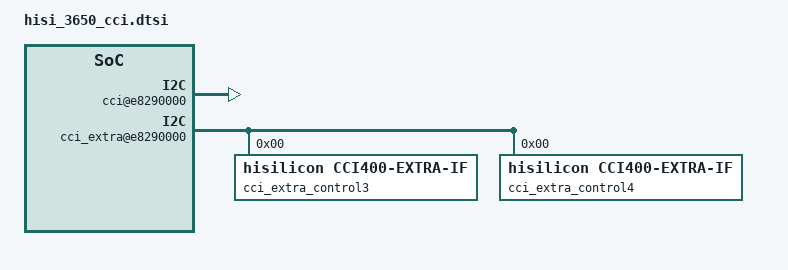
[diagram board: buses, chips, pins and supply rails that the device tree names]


/{
	cci@e8290000 {
		compatible = "arm,cci-400";
		#address-cells = <2>;
		#size-cells = <2>;
		reg = <0x0 0xe8290000 0x0 0x9000>;
	};

	cci_extra@e8290000 {
		compatible = "hisilicon,cci400-extra";
		#address-cells = <2>;
		#size-cells = <2>;
		reg = <0x0 0xe8290000 0x0 0x9000>;
		ranges = <0x0 0x4000 0x0 0xe8294000 0x0 0x1000>,
			<0x0 0x5000 0x0 0xe8295000 0x0 0x1000>;

		speculative-disable = <0x70001>;

		/*A53 Interface*/
		cci_extra_control3: slave-if@4000 {
			compatible = "hisilicon,cci400-extra-if";
			interface-type = "ace";
			reg = <0x0 0x4000 0x0 0x1000>;
			qos-control = <0x310003>;
			regulator-target = <0x80007>;
			scalar = <0x707>;
			qos-range = <0x3010301>;
		};
		/*Maia Interface*/
		cci_extra_control4: slave-if@5000 {
			compatible = "hisilicon,cci400-extra-if";
			interface-type = "ace";
			reg = <0x0 0x5000 0x0 0x1000>;
			qos-control = <0x310003>;
			regulator-target = <0x70006>;
			scalar = <0x707>;
			qos-range = <0x3010301>;
		};
	};
};
